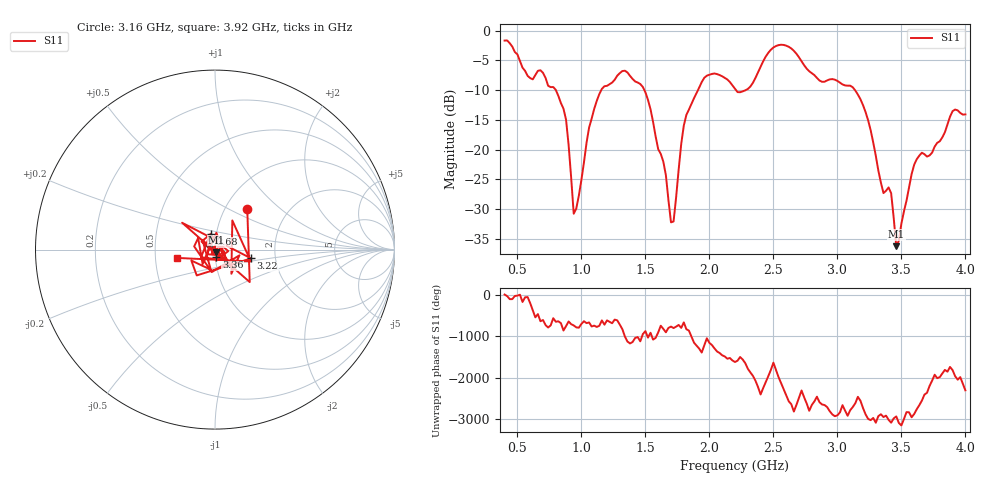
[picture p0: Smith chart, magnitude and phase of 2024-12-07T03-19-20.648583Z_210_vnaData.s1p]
!Created with skrf (http://scikit-rf.org).
# Hz S RI R 50.0
!freq ReS11 ImS11
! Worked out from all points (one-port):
!   181 points, 400 MHz to 4 GHz, reference 50 ohm
!   lowest |S11| = -36.3 dB at 3.46 GHz (marker M1), VSWR 1.03, Z = 50.7 - j1.4 ohm
!   |S11| at or under -10 dB: 800.6 MHz to 1.155 GHz (354.8 MHz wide, 36.3 % of centre); 1.492 GHz to 1.911 GHz (419 MHz wide, 24.6 % of centre); 3.137 GHz to end of sweep (the widest 3 of 4)
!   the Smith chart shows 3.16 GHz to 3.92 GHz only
!   S11 on the Smith chart (normalised r, x): 3.16 GHz: 1.26, +0.63; 3.22 GHz: 1.49, -0.15; 3.36 GHz: 1.01, -0.09; 3.68 GHz: 0.94, +0.17; 3.92 GHz: 0.65, -0.06
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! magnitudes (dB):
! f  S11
! 400 MHz  -1.7
! 860 MHz  -13.1
! 900 MHz  -19.2
! 940 MHz  -30.8
! 1.12 GHz  -11.8
! 1.3 GHz  -7.1
! 1.5 GHz  -10.4
! 1.64 GHz  -22.0
! 1.7 GHz  -32.3
! 1.72 GHz  -32.1
! 1.76 GHz  -23.3
! 1.82 GHz  -14.2
! 1.96 GHz  -7.9
! 2.2 GHz  -9.8
! 2.32 GHz  -9.4
! 2.5 GHz  -2.8
! 2.66 GHz  -3.4
! 2.86 GHz  -8.4
! 3.1 GHz  -9.3
! 3.16 GHz  -10.8
! 3.22 GHz  -13.7
! 3.36 GHz  -27.3
! 3.42 GHz  -27.4
! 3.46 GHz  -36.3
! 3.56 GHz  -26.4
! 3.68 GHz  -20.8
! 3.92 GHz  -13.3
! 4 GHz  -14.1
